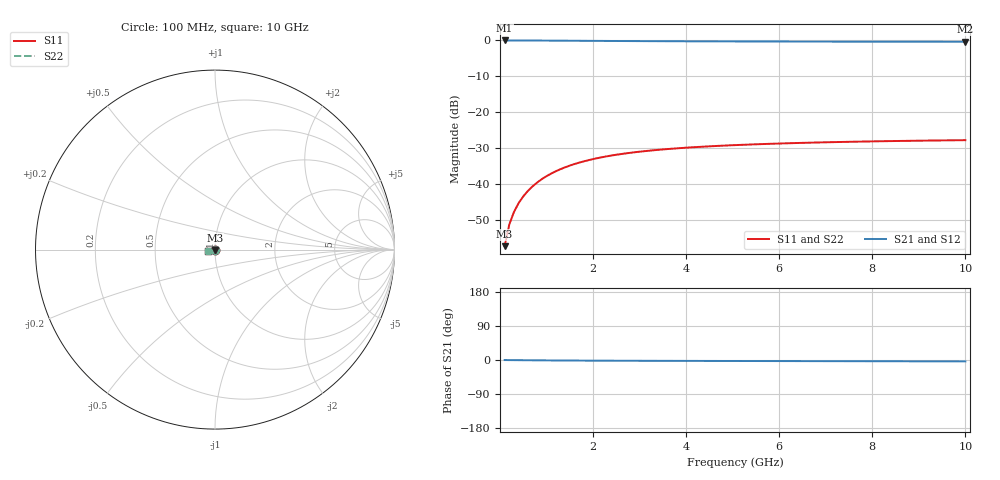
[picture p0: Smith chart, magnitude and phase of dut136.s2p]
! Touchstone file exported from HFSS 2024.1.0
!  File:  C:/UserFiles/LocalFiles/RDL_TSV_Batchsim/temp_TSV1_136_1778754140.aedt
!  Generated:  06:27:38 PM May 14, 2026
!  Design:  TSV1
!  Project:  temp_TSV1_136_1778754140
!  Setup:  Setup1
!  Solution:  Sweep
! Variables:
!  dtsv = 17.13um
!  hbump = 3um
!  htsv = 51.06um
!  lrdl = 252.1521522um
!  p = 40
!  p1 = 59.59um
!  t = 500um
!  trdl = 3um
!  wrdl = 24.89489489um
# GHz S MA R 50.000000
! Terminal data exported
! Port[1] = TSV22_T1
! Port[2] = TSV22_T2
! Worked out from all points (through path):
!   100 points, 100 MHz to 10 GHz, reference 50 ohm
!   highest |S21| = 0.00 dB at 100 MHz (marker M1); lowest = -0.4 dB at 10 GHz (marker M2)
!   lowest |S11| = -57.2 dB at 100 MHz (marker M3), VSWR 1.00, Z = 50 - j0.138 ohm
!   |S11| at or under -10 dB: start of sweep to end of sweep
!   |S22| runs from -57.2 to -27.7 dB; largest |S21 - S12| = 3.4e-15
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0.1  0.001382 -89.6  0.9999 -0.1  0.9999 -0.1  0.001382 -89.6
! Gamma 0 0 0 0
! Port Impedance 50 0 50 0
0.2  0.002756 -92.9  0.9997 -0.2  0.9997 -0.2  0.002756 -92.9
0.3  0.00412 -95.4  0.9995 -0.3  0.9995 -0.3  0.00412 -95.4
0.4  0.005467 -97.7  0.9991 -0.4  0.9991 -0.4  0.005467 -97.7
0.5  0.006794 -99.8  0.9986 -0.6  0.9986 -0.6  0.006794 -99.8
0.6  0.008096 -101.9  0.9981 -0.7  0.9981 -0.7  0.008096 -101.9
0.7  0.009369 -103.9  0.9975 -0.8  0.9975 -0.8  0.009369 -103.9
0.8  0.01061 -105.9  0.9968 -0.9  0.9968 -0.9  0.01061 -105.9
0.9  0.01181 -107.8  0.9961 -0.9  0.9961 -0.9  0.01181 -107.8
1.1  0.01411 -111.5  0.9945 -1.1  0.9945 -1.1  0.01411 -111.5
1.4  0.01724 -116.7  0.9919 -1.3  0.9919 -1.3  0.01724 -116.7
1.6  0.01913 -119.8  0.9901 -1.5  0.9901 -1.5  0.01913 -119.8
1.8  0.02085 -122.8  0.9884 -1.6  0.9884 -1.6  0.02085 -122.8
2.1  0.02316 -126.9  0.9859 -1.8  0.9859 -1.8  0.02316 -126.9
2.5  0.02577 -131.6  0.9827 -1.9  0.9827 -1.9  0.02577 -131.6
2.9  0.02794 -135.8  0.9799 -2.1  0.9799 -2.1  0.02794 -135.8
3.4  0.03016 -140.2  0.9767 -2.2  0.9767 -2.2  0.03016 -140.2
4.2  0.03291 -146.0  0.9726 -2.4  0.9726 -2.4  0.03291 -146.0
5.1  0.03519 -151.2  0.9689 -2.6  0.9689 -2.6  0.03519 -151.2
6.7  0.03799 -158.3  0.9643 -3.0  0.9643 -3.0  0.03799 -158.3
8.4  0.03991 -164.0  0.9611 -3.3  0.9611 -3.3  0.03991 -164.0
10  0.0411 -168.5  0.959 -3.7  0.959 -3.7  0.0411 -168.5
